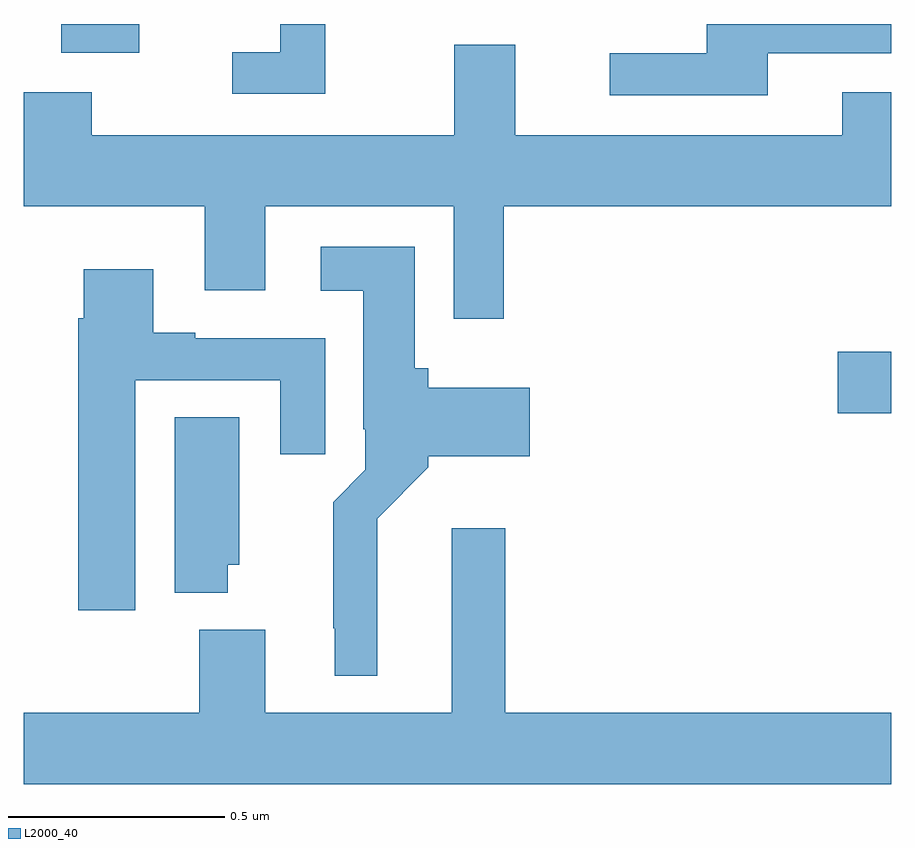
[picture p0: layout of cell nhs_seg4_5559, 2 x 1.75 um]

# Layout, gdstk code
import gdstk
lib = gdstk.Library(unit=1e-6, precision=1e-09)
def R(c, l, rs):  # rectangles x0, y0, x1, y1
    for r in rs: c.add(gdstk.rectangle(r[:2], r[2:], *l))
def P(c, l, *ps):  # polygons
    for p in ps: c.add(gdstk.Polygon(p, *l))
L2000_40 = (2000, 40)

nhs_seg4_5559 = lib.new_cell('nhs_seg4_5559')
R(nhs_seg4_5559, L2000_40, [(180.876,803.003,181,803.145), (179.087,803.834,179.266,803.9)])
P(nhs_seg4_5559, L2000_40, [(179.695,803.9),(179.591,803.9),(179.591,803.835),(179.481,803.835),(179.481,803.739),(179.695,803.739)],
  [(180.715,803.832),(181,803.832),(181,803.9),(180.575,803.9),(180.575,803.832),(180.351,803.832),(180.351,803.736),(180.715,803.736)],
  [(180.107,803.48),(181,803.48),(181,803.743),(180.887,803.743),(180.887,803.644),(180.133,803.644),(180.133,803.852),(179.993,803.852),(179.993,803.644),(179.157,803.644),(179.157,803.743),(179,803.743),(179,803.48),(179.417,803.48),(179.417,803.286),(179.557,803.286),(179.557,803.48),(179.991,803.48),(179.991,803.22),(180.107,803.22)],
  [(179.815,802.76),(179.933,802.878),(179.933,802.904),(180.166,802.904),(180.166,803.062),(179.933,803.062),(179.933,803.106),(179.902,803.106),(179.902,803.386),(179.685,803.386),(179.685,803.285),(179.783,803.285),(179.783,802.966),(179.787,802.966),(179.787,802.872),(179.713,802.798),(179.713,802.507),(179.717,802.507),(179.717,802.397),(179.815,802.397)],
  [(179.257,803.079),(179.591,803.079),(179.591,802.908),(179.695,802.908),(179.695,803.175),(179.395,803.175),(179.395,803.188),(179.299,803.188),(179.299,803.335),(179.138,803.335),(179.138,803.222),(179.126,803.222),(179.126,802.548),(179.257,802.548)],
  [(179.47,802.653),(179.497,802.653),(179.497,802.994),(179.348,802.994),(179.348,802.589),(179.47,802.589)],
  [(181,802.312),(180.11,802.312),(180.11,802.738),(179.987,802.738),(179.987,802.312),(179.557,802.312),(179.557,802.504),(179.405,802.504),(179.405,802.312),(179,802.312),(179,802.148),(181,802.148)])

lib.write_gds('nhs_seg4_5559.gds')
